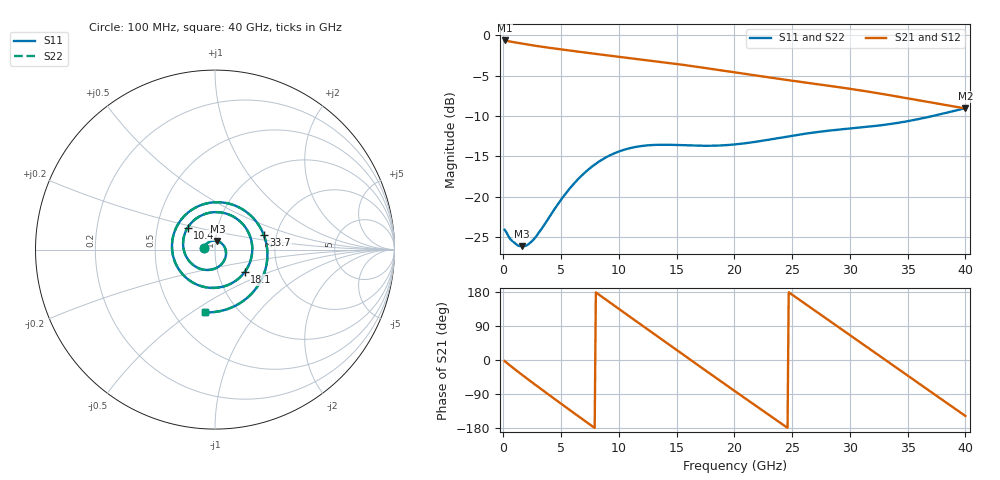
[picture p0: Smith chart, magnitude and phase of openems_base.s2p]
! D_s8_stitch_none: L1 (ref L2) → L8 (ref L7), no stitching via
! stackup: 8-layer 1.6 mm FR-4 (generic)
! ports: 1, 2
! openEMS 0.37.0, staircase, base mesh (dfine 0.035 mm), 889785 cells
# Hz S RI R 50
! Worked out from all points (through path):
!   400 points, 100 MHz to 40 GHz, reference 50 ohm
!   highest |S21| = -0.62 dB at 100 MHz (marker M1); lowest = -9.0 dB at 40 GHz (marker M2)
!   group delay of S21, straight-line fit = 59.8 ps
!   lowest |S11| = -26.1 dB at 1.6 GHz (marker M3), VSWR 1.10, Z = 51.2 + j4.87 ohm
!   |S11| at or under -10 dB: start of sweep to 37.11 GHz
!   |S22| runs from -26.1 to -9.0 dB; largest |S21 - S12| = 0.00012
!   S11 on the Smith chart (normalised r, x): 100 MHz: 0.88, +0.02; 10.4 GHz: 0.72, +0.18; 18.1 GHz: 1.35, -0.35; 33.7 GHz: 1.72, +0.30; 40 GHz: 0.70, -0.56
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1e8  -0.0618 0.00958  0.9304 -0.0438  0.9305 -0.0439  -0.0618 0.00968
1.6e9  0.0139 0.0475  0.6924 -0.5594  0.6923 -0.5593  0.014 0.0474
2.8e9  0.0558 0.00844  0.3461 -0.7901  0.346 -0.7901  0.0559 0.00842
4e9  0.0556 -0.0511  -0.0482 -0.837  -0.0483 -0.837  0.0556 -0.0511
5.3e9  0.00682 -0.1025  -0.4341 -0.6891  -0.4341 -0.6891  0.00686 -0.1026
6.8e9  -0.0851 -0.1061  -0.7163 -0.3295  -0.7162 -0.3295  -0.0851 -0.1061
8.5e9  -0.1679 -0.0221  -0.7425 0.1649  -0.7425 0.165  -0.1679 -0.0221
1.04e10  -0.152 0.1227  -0.4312 0.5911  -0.4312 0.5911  -0.152 0.1227
1.19e10  -0.0547 0.1989  -0.0437 0.7088  -0.0437 0.7088  -0.0547 0.1989
1.34e10  0.0712 0.1977  0.3343 0.6024  0.3343 0.6024  0.0712 0.1977
1.57e10  0.1995 0.0613  0.6432 0.1263  0.6432 0.1264  0.1995 0.0613
1.81e10  0.1659 -0.1245  0.4696 -0.4032  0.4696 -0.4032  0.1659 -0.1245
2.01e10  0.0358 -0.2084  0.067 -0.585  0.067 -0.585  0.0358 -0.2084
2.17e10  -0.0882 -0.2  -0.2617 -0.5021  -0.2617 -0.5021  -0.0882 -0.2
2.36e10  -0.2039 -0.1064  -0.5017 -0.2039  -0.5017 -0.2039  -0.2039 -0.1064
2.67e10  -0.2083 0.1372  -0.3644 0.3496  -0.3644 0.3496  -0.2083 0.1372
2.96e10  -0.00703 0.2633  0.1282 0.4542  0.1282 0.4542  -0.00703 0.2633
3.16e10  0.1578 0.2216  0.3827 0.2338  0.3827 0.2338  0.1578 0.2216
3.34e10  0.2618 0.1048  0.4237 -0.0526  0.4237 -0.0526  0.2618 0.1048
3.37e10  0.2725 0.0801  0.4117 -0.0987  0.4117 -0.0987  0.2725 0.0801
3.68e10  0.2396 -0.2008  0.0702 -0.3805  0.0702 -0.3805  0.2396 -0.2008
4e10  -0.0582 -0.3497  -0.2981 -0.1889  -0.2981 -0.189  -0.0582 -0.3497
